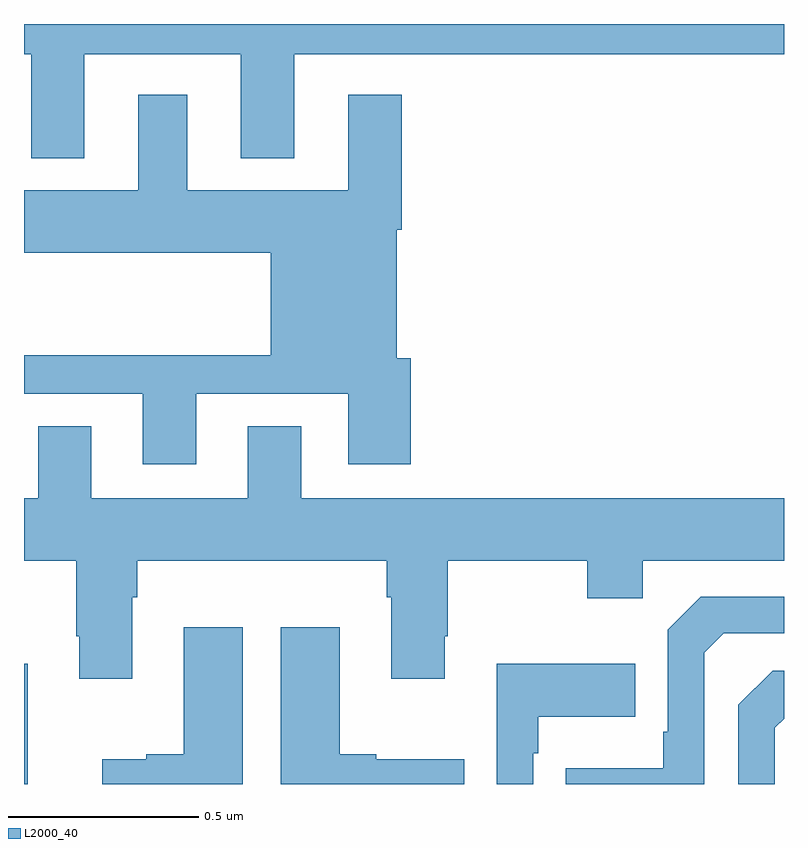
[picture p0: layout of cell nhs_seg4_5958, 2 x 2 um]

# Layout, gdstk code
import gdstk
lib = gdstk.Library(unit=1e-6, precision=1e-09)
def R(c, l, rs):  # rectangles x0, y0, x1, y1
    for r in rs: c.add(gdstk.rectangle(r[:2], r[2:], *l))
def P(c, l, *ps):  # polygons
    for p in ps: c.add(gdstk.Polygon(p, *l))
L2000_40 = (2000, 40)

nhs_seg4_5958 = lib.new_cell('nhs_seg4_5958')
R(nhs_seg4_5958, L2000_40, [(184,794.9,184.01,795.217)])
P(nhs_seg4_5958, L2000_40, [(184,796.82),(184.019,796.82),(184.019,796.547),(184.159,796.547),(184.159,796.82),(184.571,796.82),(184.571,796.547),(184.711,796.547),(184.711,796.82),(186,796.82),(186,796.9),(184,796.9)],
  [(184.453,795.927),(184.853,795.927),(184.853,795.741),(185.018,795.741),(185.018,796.02),(184.981,796.02),(184.981,796.358),(184.994,796.358),(184.994,796.714),(184.853,796.714),(184.853,796.462),(184.429,796.462),(184.429,796.714),(184.301,796.714),(184.301,796.462),(184,796.462),(184,796.298),(184.649,796.298),(184.649,796.028),(184,796.028),(184,795.927),(184.313,795.927),(184.313,795.741),(184.453,795.741)],
  [(184.285,795.392),(184.298,795.392),(184.298,795.488),(184.955,795.488),(184.955,795.392),(184.967,795.392),(184.967,795.177),(185.107,795.177),(185.107,795.289),(185.115,795.289),(185.115,795.488),(185.482,795.488),(185.482,795.389),(185.628,795.389),(185.628,795.488),(186,795.488),(186,795.652),(184.729,795.652),(184.729,795.842),(184.589,795.842),(184.589,795.652),(184.177,795.652),(184.177,795.842),(184.037,795.842),(184.037,795.652),(184,795.652),(184,795.488),(184.138,795.488),(184.138,795.289),(184.145,795.289),(184.145,795.177),(184.285,795.177)],
  [(185.79,795.246),(185.841,795.297),(186,795.297),(186,795.393),(185.781,795.393),(185.694,795.306),(185.694,795.037),(185.682,795.037),(185.682,794.941),(185.425,794.941),(185.425,794.9),(185.79,794.9)],
  [(185.158,794.965),(184.927,794.965),(184.927,794.978),(184.831,794.978),(184.831,795.313),(184.676,795.313),(184.676,794.9),(185.158,794.9)],
  [(184.576,795.313),(184.421,795.313),(184.421,794.978),(184.322,794.978),(184.322,794.965),(184.206,794.965),(184.206,794.9),(184.576,794.9)],
  [(185.34,794.981),(185.353,794.981),(185.353,795.077),(185.609,795.077),(185.609,795.217),(185.244,795.217),(185.244,794.9),(185.34,794.9)],
  [(185.976,795.048),(186,795.072),(186,795.198),(185.97,795.198),(185.88,795.108),(185.88,794.9),(185.976,794.9)])

lib.write_gds('nhs_seg4_5958.gds')
